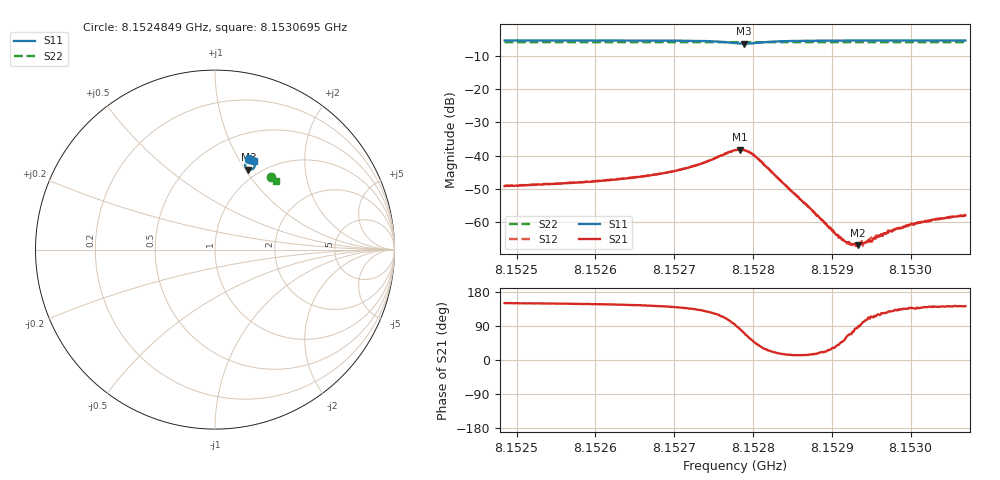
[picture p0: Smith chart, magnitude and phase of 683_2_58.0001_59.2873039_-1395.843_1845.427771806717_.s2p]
#  HZ  S  RI  R  50.00
! Rohde & Schwarz Vector Network Analyzer
! Rohde-Schwarz,ZNB20-2Port,1311601062101988,3.16
! Created: UTC 3/21/2024, 1:20:57 AM
! freq[Hz]  re:S11  im:S11  re:S21  im:S21  re:S12  im:S12  re:S22  im:S22
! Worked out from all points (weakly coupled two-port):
!   401 points, 8.1524849 GHz to 8.1530695 GHz, reference 50 ohm
!   highest |S21| = -38.18 dB at 8.152783 GHz (marker M1); lowest = -66.9 dB at 8.1529336 GHz (marker M2)
!   lowest |S11| = -6.3 dB at 8.1527889 GHz (marker M3), VSWR 2.87, Z = 44.5 + j51.8 ohm
!   |S11| at or under -10 dB: nowhere
!   |S22| runs from -5.9 to -5.8 dB; largest |S21 - S12| = 0.00036
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8.15248487e9  0.1902 0.506  -0.00302 0.00172  -0.003 0.00178  0.3105 0.4061
8.15258279e9  0.199 0.5026  -0.00336 0.00211  -0.00333 0.00215  0.3153 0.4021
8.15263979e9  0.2049 0.4995  -0.00375 0.00259  -0.00375 0.00262  0.3182 0.3998
8.15268072e9  0.2104 0.4958  -0.00418 0.00324  -0.00415 0.0033  0.3203 0.3979
8.15272602e9  0.2183 0.4867  -0.00488 0.00503  -0.00484 0.00516  0.3225 0.3956
8.15277718e9  0.2083 0.448  -0.000683 0.0121  -0.000491 0.0121  0.3239 0.3925
8.15278303e9  0.1979 0.4447  0.00159 0.0122  0.00176 0.0122  0.3238 0.3923
8.15278887e9  0.1864 0.446  0.00394 0.0115  0.00405 0.0114  0.3236 0.3924
8.15279764e9  0.1726 0.4563  0.00637 0.00885  0.00648 0.00876  0.3238 0.3926
8.15280495e9  0.168 0.4679  0.00689 0.00618  0.00695 0.00621  0.3241 0.3927
8.1528751e9  0.1931 0.4995  0.00144 0.000402  0.00146 0.000365  0.3288 0.3906
8.1529058e9  0.1995 0.4995  0.000513 0.000378  0.000536 0.000383  0.3304 0.3893
8.15291603e9  0.2013 0.4993  0.000314 0.000412  0.000319 0.000418  0.331 0.3888
8.15292772e9  0.2031 0.4991  0.000123 0.000456  9.57e-05 0.00044  0.3316 0.3886
8.15293356e9  0.2039 0.4991  3.79e-06 0.00045  1.3e-05 0.000454  0.3317 0.388
8.15294233e9  0.205 0.4989  -0.000123 0.000476  -0.000111 0.000493  0.3322 0.3877
8.15294818e9  0.2058 0.4986  -0.000167 0.000481  -0.000192 0.000499  0.3324 0.3874
8.15295987e9  0.2073 0.4982  -0.00031 0.000539  -0.000309 0.000512  0.3331 0.3868
8.15297303e9  0.2087 0.498  -0.000465 0.000579  -0.000431 0.00059  0.3338 0.3865
8.15301103e9  0.2127 0.4969  -0.000706 0.000668  -0.000729 0.000679  0.3354 0.3847
8.15303149e9  0.2145 0.4964  -0.000862 0.000698  -0.000824 0.000691  0.3366 0.3839
8.15306949e9  0.2178 0.4952  -0.000997 0.000771  -0.00103 0.000797  0.3384 0.3823
